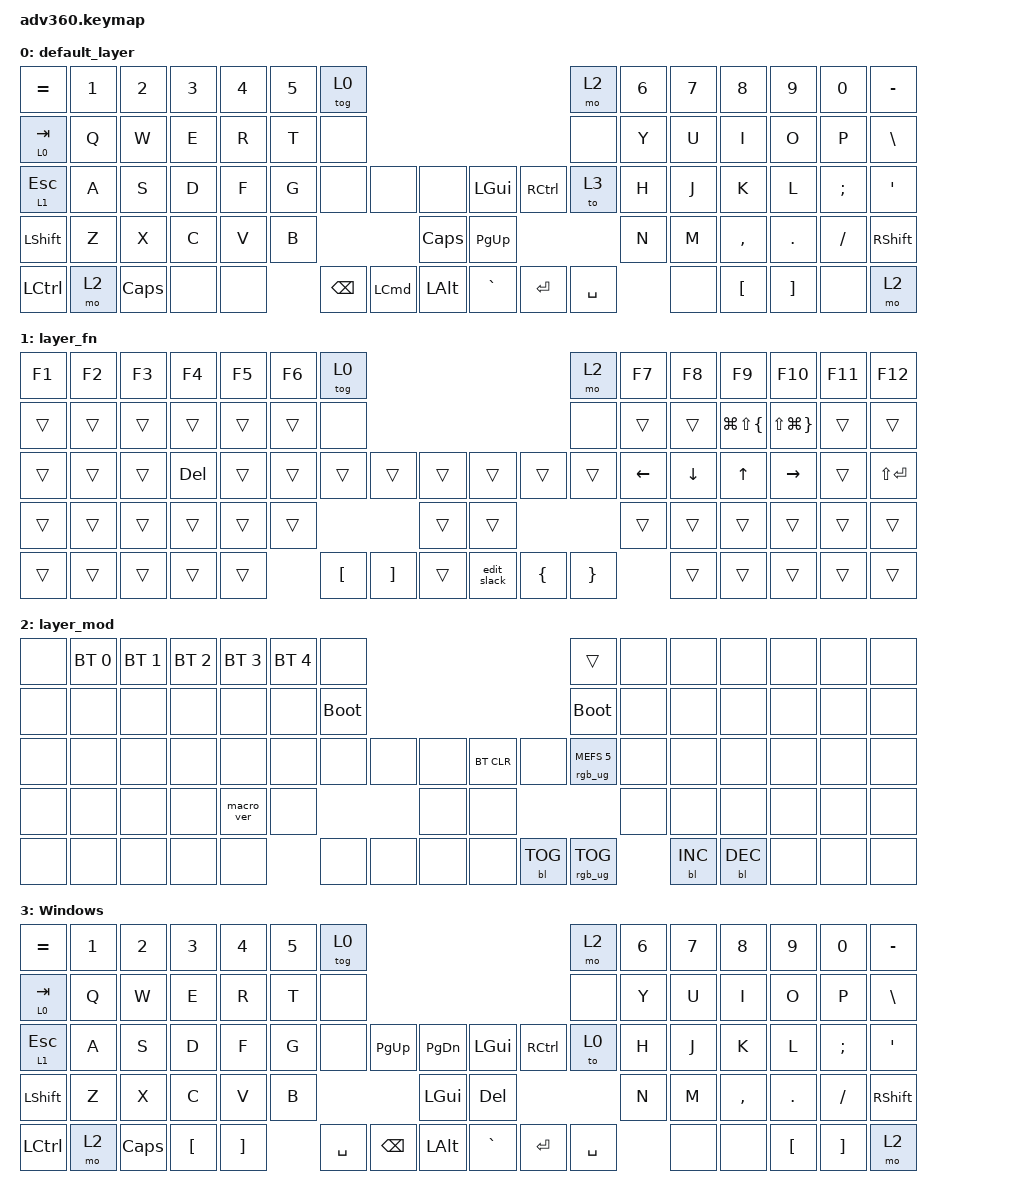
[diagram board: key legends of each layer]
/*
 * Copyright (c) 2020 The ZMK Contributors
 *
 * SPDX-License-Identifier: MIT
 */
/* THIS FILE WAS GENERATED!
 *
 * This file was generated automatically. You may or may not want to
 * edit it directly.
 */

#include <behaviors.dtsi>
#include <dt-bindings/zmk/backlight.h>
#include <dt-bindings/zmk/bt.h>
#include <dt-bindings/zmk/keys.h>
#include <dt-bindings/zmk/rgb.h>

/ {
    behaviors {
        #include "macros.dtsi"
    #include "version.dtsi"

        hm: homerow_mods {
            compatible = "zmk,behavior-hold-tap";
            label = "HOMEROW_MODS";
            #binding-cells = <2>;
            tapping-term-ms = <200>;
            quick_tap_ms = <175>;
            flavor = "tap-preferred";
            bindings = <&kp>, <&kp>;
        };
    };

    macros {
        edit_slack: edit_slack {
            compatible = "zmk,behavior-macro";
            #binding-cells = <0>;
            bindings = <&kp UP_ARROW &kp E>;
            label = "EDIT_SLACK";
        };
    };

    keymap {
        compatible = "zmk,keymap";

        default_layer {
            bindings = <
&kp EQUAL  &kp N1  &kp N2    &kp N3  &kp N4  &kp N5  &tog 0                                                      &mo 2      &kp N6  &kp N7  &kp N8            &kp N9             &kp N0    &kp MINUS
&lt 0 TAB  &kp Q   &kp W     &kp E   &kp R   &kp T   &none                                                       &none      &kp Y   &kp U   &kp I             &kp O              &kp P     &kp BSLH
&lt 1 ESC  &kp A   &kp S     &kp D   &kp F   &kp G   &none     &none     &none             &kp LGUI   &kp RCTRL  &to 3      &kp H   &kp J   &kp K             &kp L              &kp SEMI  &kp SQT
&kp LSHFT  &kp Z   &kp X     &kp C   &kp V   &kp B                       &kp CAPS          &kp PG_UP                        &kp N   &kp M   &kp COMMA         &kp DOT            &kp FSLH  &kp RSHFT
&kp LCTRL  &mo 2   &kp CAPS  &none   &none           &kp BSPC  &kp LCMD  &kp LEFT_ALT      &kp GRAVE  &kp ENTER  &kp SPACE          &none   &kp LEFT_BRACKET  &kp RIGHT_BRACKET  &none     &mo 2
            >;
        };

        layer_fn {
            bindings = <
&kp F1  &kp F2  &kp F3  &kp F4      &kp F5  &kp F6  &tog 0                                                                        &mo 2            &kp F7    &kp F8    &kp F9                  &kp F10                  &kp F11  &kp F12
&trans  &trans  &trans  &trans      &trans  &trans  &none                                                                         &none            &trans    &trans    &kp LG(LS(LEFT_BRACE))  &kp LS(LG(RIGHT_BRACE))  &trans   &trans
&trans  &trans  &trans  &kp DELETE  &trans  &trans  &trans            &trans             &trans      &trans       &trans          &trans           &kp LEFT  &kp DOWN  &kp UP                  &kp RIGHT                &trans   &kp LS(ENTER)
&trans  &trans  &trans  &trans      &trans  &trans                                       &trans      &trans                                        &trans    &trans    &trans                  &trans                   &trans   &trans
&trans  &trans  &trans  &trans      &trans          &kp LEFT_BRACKET  &kp RIGHT_BRACKET  &trans      &edit_slack  &kp LEFT_BRACE  &kp RIGHT_BRACE            &trans    &trans                  &trans                   &trans   &trans
            >;
        };

        layer_mod {
            bindings = <
&none  &bt BT_SEL 0  &bt BT_SEL 1  &bt BT_SEL 2  &bt BT_SEL 3  &bt BT_SEL 4  &none                                                  &trans                  &none  &none       &none       &none  &none  &none
&none  &none         &none         &none         &none         &none         &bootloader                                            &bootloader             &none  &none       &none       &none  &none  &none
&none  &none         &none         &none         &none         &none         &none        &none  &none      &bt BT_CLR  &none       &rgb_ug RGB_MEFS_CMD 5  &none  &none       &none       &none  &none  &none
&none  &none         &none         &none         &macro_ver    &none                             &none      &none                                           &none  &none       &none       &none  &none  &none
&none  &none         &none         &none         &none                       &none        &none  &none      &none       &bl BL_TOG  &rgb_ug RGB_TOG                &bl BL_INC  &bl BL_DEC  &none  &none  &none
            >;
        };

        Windows {
            bindings = <
&kp EQUAL  &kp N1  &kp N2    &kp N3            &kp N4             &kp N5  &tog 0                                                             &mo 2      &kp N6  &kp N7  &kp N8     &kp N9    &kp N0    &kp MINUS
&lt 0 TAB  &kp Q   &kp W     &kp E             &kp R              &kp T   &none                                                              &none      &kp Y   &kp U   &kp I      &kp O     &kp P     &kp BSLH
&lt 1 ESC  &kp A   &kp S     &kp D             &kp F              &kp G   &none      &kp PAGE_UP    &kp PAGE_DOWN      &kp LGUI   &kp RCTRL  &to 0      &kp H   &kp J   &kp K      &kp L     &kp SEMI  &kp SQT
&kp LSHFT  &kp Z   &kp X     &kp C             &kp V              &kp B                             &kp LGUI           &kp DEL                          &kp N   &kp M   &kp COMMA  &kp DOT   &kp FSLH  &kp RSHFT
&kp LCTRL  &mo 2   &kp CAPS  &kp LEFT_BRACKET  &kp RIGHT_BRACKET          &kp SPACE  &kp BACKSPACE  &kp LEFT_ALT       &kp GRAVE  &kp ENTER  &kp SPACE          &none   &none      &kp LBKT  &kp RBKT  &mo 2
            >;
        };
    };
};
